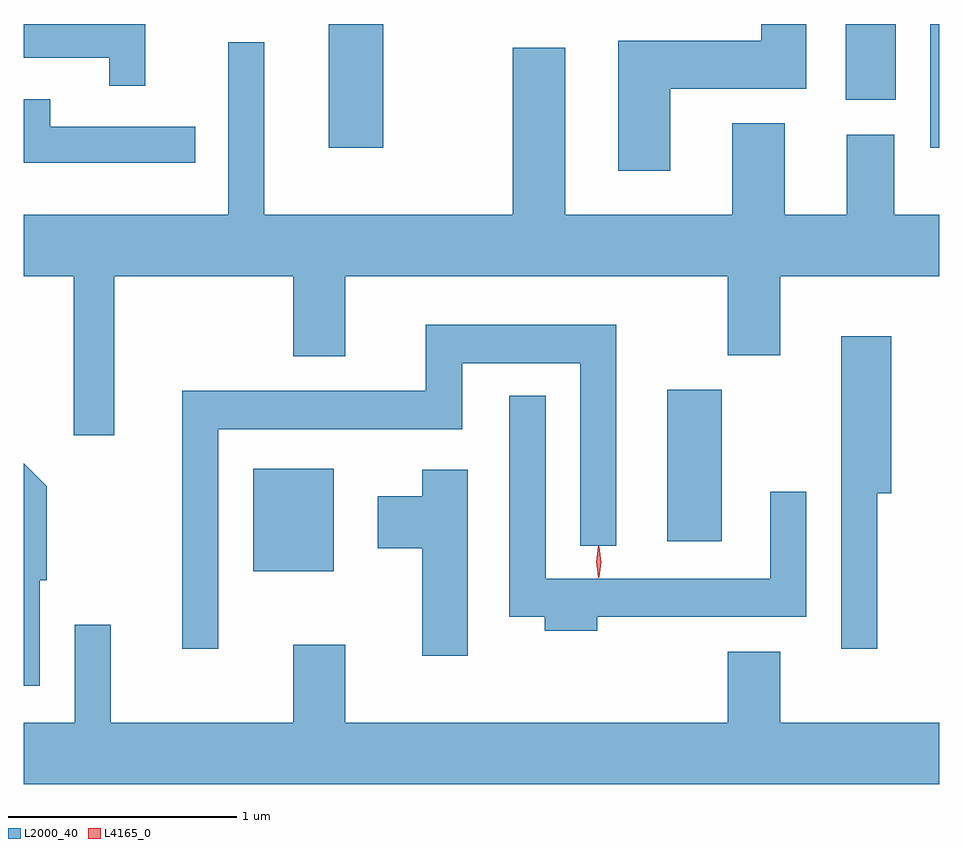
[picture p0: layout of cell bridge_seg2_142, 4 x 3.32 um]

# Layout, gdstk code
import gdstk
lib = gdstk.Library(unit=1e-6, precision=1e-09)
def R(c, l, rs):  # rectangles x0, y0, x1, y1
    for r in rs: c.add(gdstk.rectangle(r[:2], r[2:], *l))
def P(c, l, *ps):  # polygons
    for p in ps: c.add(gdstk.Polygon(p, *l))
L2000_40 = (2000, 40)
L4165_0 = (4165, 0)

bridge_seg2_142 = lib.new_cell('bridge_seg2_142')
R(bridge_seg2_142, L2000_40, [(1067.036,1104.746,1067.389,1105.194), (1068.846,1104.876,1069.084,1105.539), (1067.366,1106.596,1067.604,1107.138), (1069.996,1106.596,1070.034,1107.138), (1069.626,1106.806,1069.844,1107.138)])
P(bridge_seg2_142, L2000_40, [(1068.859,1106.856),(1069.454,1106.856),(1069.454,1107.138),(1069.256,1107.138),(1069.256,1107.064),(1068.631,1107.064),(1068.631,1106.496),(1068.859,1106.496)],
  [(1066.564,1107.138),(1066.034,1107.138),(1066.034,1106.991),(1066.406,1106.991),(1066.406,1106.868),(1066.564,1106.868)],
  [(1066.429,1106.036),(1067.211,1106.036),(1067.211,1105.686),(1067.439,1105.686),(1067.439,1106.036),(1069.111,1106.036),(1069.111,1105.691),(1069.339,1105.691),(1069.339,1106.036),(1070.034,1106.036),(1070.034,1106.304),(1069.839,1106.304),(1069.839,1106.654),(1069.631,1106.654),(1069.631,1106.304),(1069.359,1106.304),(1069.359,1106.704),(1069.131,1106.704),(1069.131,1106.304),(1068.399,1106.304),(1068.399,1107.034),(1068.171,1107.034),(1068.171,1106.304),(1067.084,1106.304),(1067.084,1107.058),(1066.926,1107.058),(1066.926,1106.304),(1066.034,1106.304),(1066.034,1106.036),(1066.251,1106.036),(1066.251,1105.341),(1066.429,1105.341)],
  [(1066.783,1106.689),(1066.149,1106.689),(1066.149,1106.809),(1066.034,1106.809),(1066.034,1106.531),(1066.783,1106.531)],
  [(1066.884,1105.366),(1067.949,1105.366),(1067.949,1105.656),(1068.466,1105.656),(1068.466,1104.858),(1068.624,1104.858),(1068.624,1105.824),(1067.791,1105.824),(1067.791,1105.534),(1066.726,1105.534),(1066.726,1104.408),(1066.884,1104.408)],
  [(1069.764,1105.086),(1069.824,1105.086),(1069.824,1105.774),(1069.606,1105.774),(1069.606,1104.408),(1069.764,1104.408)],
  [(1068.539,1104.546),(1069.454,1104.546),(1069.454,1105.093),(1069.296,1105.093),(1069.296,1104.714),(1068.314,1104.714),(1068.314,1105.513),(1068.156,1105.513),(1068.156,1104.546),(1068.311,1104.546),(1068.311,1104.486),(1068.539,1104.486)],
  [(1066.104,1104.706),(1066.134,1104.706),(1066.134,1105.117),(1066.034,1105.217),(1066.034,1104.246),(1066.104,1104.246)],
  [(1067.974,1105.189),(1067.776,1105.189),(1067.776,1105.074),(1067.581,1105.074),(1067.581,1104.846),(1067.776,1104.846),(1067.776,1104.376),(1067.974,1104.376)],
  [(1070.034,1104.084),(1069.339,1104.084),(1069.339,1104.394),(1069.111,1104.394),(1069.111,1104.084),(1067.439,1104.084),(1067.439,1104.424),(1067.211,1104.424),(1067.211,1104.084),(1066.414,1104.084),(1066.414,1104.513),(1066.256,1104.513),(1066.256,1104.084),(1066.034,1104.084),(1066.034,1103.816),(1070.034,1103.816)])
P(bridge_seg2_142, L4165_0, [(1068.545,1104.717),(1068.545,1104.717),(1068.535,1104.787),(1068.545,1104.856),(1068.545,1104.856),(1068.546,1104.856),(1068.555,1104.787),(1068.546,1104.717)],
  [(1068.548,1104.719),(1068.548,1104.72),(1068.538,1104.786),(1068.548,1104.852),(1068.548,1104.853),(1068.548,1104.852),(1068.558,1104.786),(1068.549,1104.72)])

lib.write_gds('bridge_seg2_142.gds')
